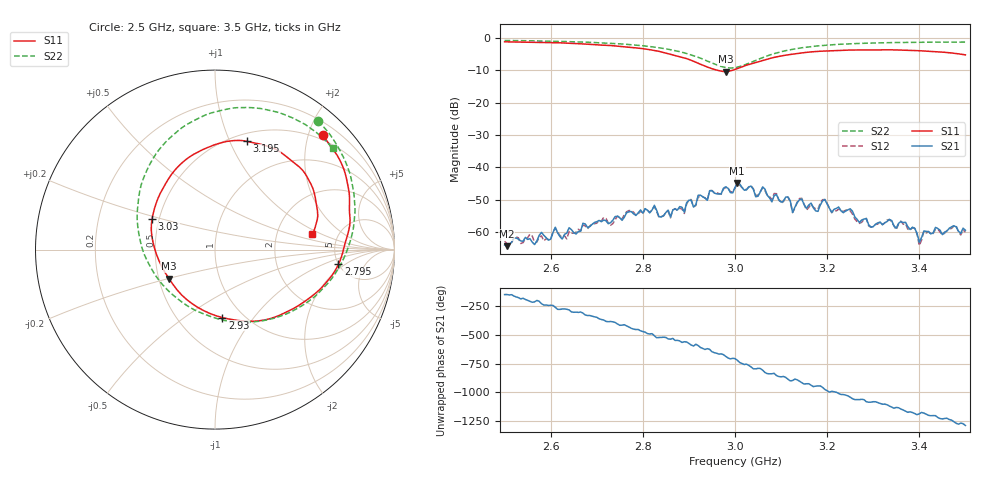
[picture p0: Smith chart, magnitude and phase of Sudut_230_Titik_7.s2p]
# Hz S RI R 50
! CMT, C1220, 16058040, 17.2.0/1
! Date: 15/08/2018 10:10:05
! Data: Format (Calibration Info)
! Freq  S11: Re/Im (F2)  S21: Re/Im (F2)  S12: Re/Im (F2)  S22: Re/Im (F2)
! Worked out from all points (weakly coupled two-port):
!   201 points, 2.5 GHz to 3.5 GHz, reference 50 ohm
!   highest |S21| = -44.78 dB at 3.005 GHz (marker M1); lowest = -64.3 dB at 2.505 GHz (marker M2)
!   lowest |S11| = -10.4 dB at 2.98 GHz (marker M3), VSWR 1.87, Z = 28.3 - j10.1 ohm
!   |S11| at or under -10 dB: 2.963 GHz to 2.994 GHz (30.42 MHz wide, 1.02 % of centre)
!   |S22| runs from -9.3 to -0.7 dB; largest |S21 - S12| = 0.00038
!   S11 on the Smith chart (normalised r, x): 2.5 GHz: 0.42, +2.25; 2.795 GHz: 4.99, -1.58; 2.93 GHz: 0.80, -0.71; 3.03 GHz: 0.46, +0.18; 3.195 GHz: 0.58, +1.16; 3.5 GHz: 3.23, +0.79
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2.5e9  0.5999 0.6359  -0.000552 -0.000312  -0.00062 -0.000381  0.573 0.7168
2.505e9  0.6061 0.6284  -0.000529 -0.0003  -0.000593 -0.000293  0.5786 0.7114
2.635e9  0.7317 0.3998  0.000145 0.000956  0.000155 0.000771  0.715 0.5158
2.67e9  0.7478 0.3153  0.00091 0.00102  0.000872 0.000949  0.745 0.4424
2.795e9  0.6876 -0.0824  -0.0006 -0.00212  -0.000632 -0.00202  0.7623 0.079
2.835e9  0.5803 -0.2259  -0.00167 -0.000495  -0.00161 -0.000543  0.7041 -0.0757
2.93e9  0.0407 -0.3785  -0.000688 0.00346  -0.000831 0.00341  0.2561 -0.398
2.98e9  -0.2562 -0.1616  0.00427 0.00264  0.00411 0.00266  -0.1427 -0.3206
3e9  -0.326 -0.0266  0.00477 0.00111  0.00476 0.00084  -0.2789 -0.2107
3.005e9  -0.3367 0.00696  0.00576 -9.31e-05  0.00544 -0.000271  -0.3083 -0.1758
3.03e9  -0.3511 0.1692  0.00348 -0.00359  0.00351 -0.00359  -0.4084 0.0144
3.115e9  -0.1004 0.5408  -0.0034 -0.000843  -0.00339 -0.000807  -0.2925 0.5793
3.125e9  -0.0614 0.5604  -0.00202 -0.000103  -0.002 -6.88e-05  -0.2534 0.6201
3.14e9  -0.00399 0.5835  -0.00317 0.000146  -0.00331 0.000172  -0.195 0.6707
3.17e9  0.0986 0.6067  -0.00153 0.00182  -0.0017 0.00174  -0.0769 0.7394
3.195e9  0.1778 0.6029  -0.000851 0.00308  -0.000672 0.00313  0.0163 0.7709
3.295e9  0.4235 0.4979  0.00119 -0.000113  0.00118 -0.000103  0.3186 0.7732
3.335e9  0.4906 0.4391  0.00123 -0.000983  0.00119 -0.00102  0.4085 0.7438
3.39e9  0.547 0.3352  -0.000275 -0.00111  -0.000309 -0.00111  0.5104 0.6918
3.4e9  0.5533 0.3151  -0.000193 -0.000675  -0.000205 -0.000585  0.5263 0.6801
3.41e9  0.5582 0.2919  -0.000182 -0.00103  -0.000221 -0.00101  0.5423 0.6686
3.5e9  0.5432 0.0853  -0.000951 0.000492  -0.000858 0.000507  0.6573 0.5636
